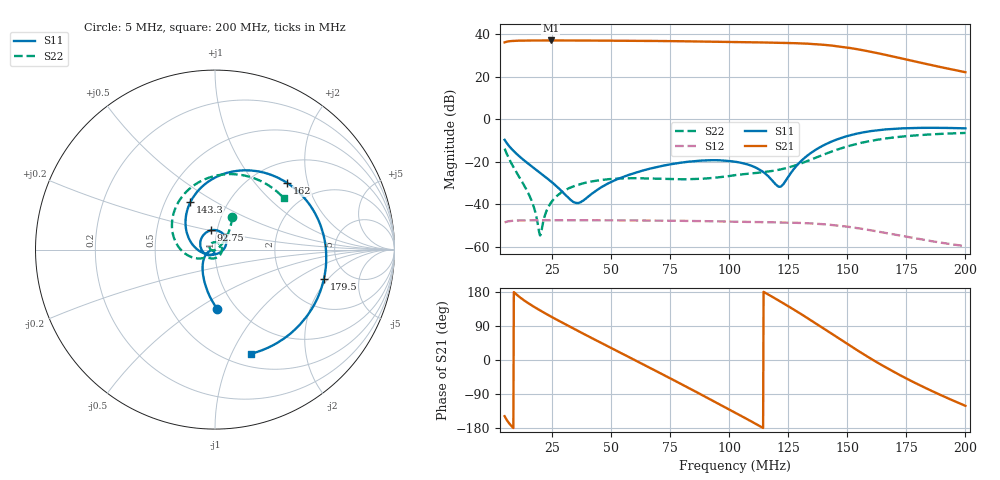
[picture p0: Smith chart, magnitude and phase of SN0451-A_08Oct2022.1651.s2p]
# Hz S DB R 50
! CMT, M5045, 22160017, 22.3.3/2
! Date: 10/8/2022 16:51:12
! Data: Format (Calibration Info)
! Freq	S11:dB/Ang(F2)	S21:dB/Ang(F2)	S12:dB/Ang(F2)	S22:dB/Ang(F2)
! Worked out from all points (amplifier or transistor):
!   1001 points, 5 MHz to 200 MHz, reference 50 ohm
!   highest |S21| = 37.1 dB at 24.5 MHz (marker M1)
!   |S21| within 3 dB of that: start of sweep to 147.8 MHz
!   unconditionally stable (mu >= 1): start of sweep to end of sweep
!   at 37.37 MHz: K = 1.81, MAG = 37.0 dB, |S12| = -47.4 dB
!   at 102.5 MHz: K = 2.05, MAG = 36.3 dB, |S12| = -48.1 dB
!   at 200 MHz: K = 18.21, MAG = 25.3 dB, |S12| = -59.6 dB
!   S11 on the Smith chart (normalised r, x): 5 MHz: 0.82, -0.61; 92.75 MHz: 0.94, +0.20; 143.3 MHz: 0.67, +0.39; 162 MHz: 1.41, +1.50; 179.5 MHz: 3.35, -1.79; 200 MHz: 0.64, -1.19
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5000000  -9.64 -87.9  36.16 -148.3  -48.42 -145.6  -13.77 62.1
7925000  -13.86 -105.6  36.79 -174.5  -47.72 -171.8  -20.79 47.1
1.163e7  -17.79 -122.4  36.97 164.7  -47.51 167.4  -27.96 35.9
1.787e7  -23.33 -145.8  37.04 138.8  -47.44 141.6  -43.13 11.0
2.45e7  -29.09 -163.4  37.06 115.1  -47.42 118.7  -39.34 -156.5
3.7565e7  -38.59 -119.6  37.03 71.8  -47.43 77.2  -30.26 163.7
5.453e7  -27.32 -132.4  36.93 17.5  -47.48 25.4  -27.75 107.7
6.2135e7  -24.48 -156.5  36.87 -6.8  -47.53 2.2  -27.68 78.7
7.013e7  -22.24 177.0  36.80 -32.4  -47.59 -22.3  -27.94 45.3
8.2025e7  -20.00 137.4  36.66 -71.0  -47.72 -59.1  -28.18 -8.9
9.275e7  -19.21 101.2  36.49 -106.2  -47.90 -92.8  -27.57 -56.5
1.025e8  -19.91 67.0  36.30 -138.7  -48.10 -123.9  -26.22 -92.7
1.1069e8  -22.37 34.0  36.17 -166.5  -48.25 -150.7  -25.28 -117.6
1.1849e8  -28.99 -20.5  36.03 165.9  -48.37 -177.2  -24.21 -133.0
1.27655e8  -22.98 -165.3  35.79 132.1  -48.60 149.9  -21.78 -144.2
1.35065e8  -15.46 153.5  35.41 103.2  -48.93 121.7  -18.73 -155.3
1.43255e8  -10.50 117.3  34.67 70.1  -49.59 89.3  -15.21 -174.2
1.5242e8  -7.15 79.4  33.29 32.9  -50.80 52.8  -12.01 159.4
1.61975e8  -5.24 42.8  31.29 -3.9  -52.53 16.5  -9.73 130.9
1.6763e8  -4.61 22.9  29.95 -24.1  -53.67 -3.5  -8.80 114.7
1.79525e8  -4.04 -15.0  26.98 -63.0  -56.08 -41.8  -7.50 83.3
2e8  -4.24 -71.0  22.14 -120.8  -59.59 -97.1  -6.40 36.7
